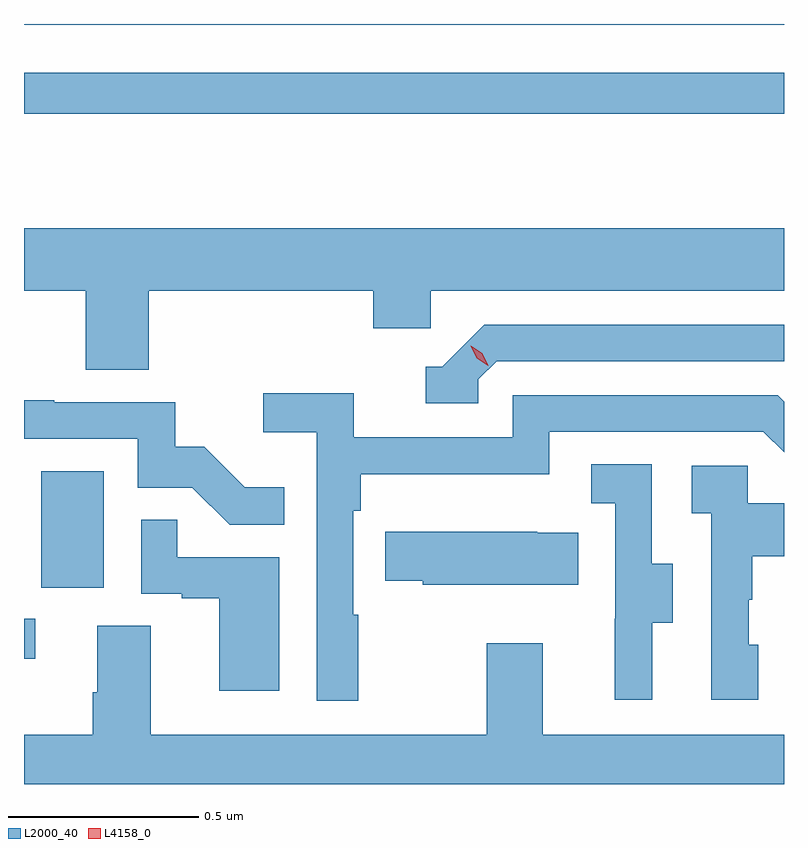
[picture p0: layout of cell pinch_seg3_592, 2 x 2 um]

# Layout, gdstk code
import gdstk
lib = gdstk.Library(unit=1e-6, precision=1e-09)
def R(c, l, rs):  # rectangles x0, y0, x1, y1
    for r in rs: c.add(gdstk.rectangle(r[:2], r[2:], *l))
def P(c, l, *ps):  # polygons
    for p in ps: c.add(gdstk.Polygon(p, *l))
L2000_40 = (2000, 40)
L4158_0 = (4158, 0)

pinch_seg3_592 = lib.new_cell('pinch_seg3_592')
R(pinch_seg3_592, L2000_40, [(1022.194,691.956,1022.224,692.061), (1022.24,692.142,1022.404,692.449), (1022.194,693.39,1024.194,693.498), (1022.194,693.624,1024.194,693.626)])
P(pinch_seg3_592, L2000_40, [(1022.522,692.924),(1023.113,692.924),(1023.113,692.826),(1023.264,692.826),(1023.264,692.924),(1024.194,692.924),(1024.194,693.088),(1022.194,693.088),(1022.194,692.924),(1022.357,692.924),(1022.357,692.716),(1022.522,692.716)],
  [(1023.39,692.691),(1023.438,692.739),(1024.194,692.739),(1024.194,692.835),(1023.405,692.835),(1023.294,692.724),(1023.251,692.724),(1023.251,692.628),(1023.39,692.628)],
  [(1023.073,692.072),(1023.06,692.072),(1023.06,692.345),(1023.08,692.345),(1023.08,692.441),(1023.576,692.441),(1023.576,692.553),(1024.14,692.553),(1024.194,692.499),(1024.194,692.632),(1024.177,692.649),(1023.48,692.649),(1023.48,692.538),(1023.062,692.538),(1023.062,692.654),(1022.823,692.654),(1022.823,692.552),(1022.964,692.552),(1022.964,691.845),(1023.073,691.845)],
  [(1022.879,692.407),(1022.775,692.407),(1022.668,692.514),(1022.592,692.514),(1022.592,692.631),(1022.273,692.631),(1022.273,692.636),(1022.194,692.636),(1022.194,692.535),(1022.493,692.535),(1022.493,692.406),(1022.637,692.406),(1022.735,692.308),(1022.879,692.308)],
  [(1023.847,692.05),(1023.901,692.05),(1023.901,692.205),(1023.846,692.205),(1023.846,692.468),(1023.687,692.468),(1023.687,692.365),(1023.75,692.365),(1023.75,692.061),(1023.749,692.061),(1023.749,691.848),(1023.847,691.848)],
  [(1024.126,691.992),(1024.101,691.992),(1024.101,692.111),(1024.111,692.111),(1024.111,692.225),(1024.194,692.225),(1024.194,692.365),(1024.098,692.365),(1024.098,692.463),(1023.951,692.463),(1023.951,692.339),(1024.002,692.339),(1024.002,691.848),(1024.126,691.848)],
  [(1022.866,692.223),(1022.597,692.223),(1022.597,692.321),(1022.502,692.321),(1022.502,692.127),(1022.609,692.127),(1022.609,692.115),(1022.708,692.115),(1022.708,691.872),(1022.866,691.872)],
  [(1023.653,692.287),(1023.545,692.287),(1023.545,692.29),(1023.145,692.29),(1023.145,692.161),(1023.243,692.161),(1023.243,692.15),(1023.653,692.15)],
  [(1024.194,691.756),(1023.559,691.756),(1023.559,691.996),(1023.412,691.996),(1023.412,691.756),(1022.527,691.756),(1022.527,692.042),(1022.387,692.042),(1022.387,691.868),(1022.375,691.868),(1022.375,691.756),(1022.194,691.756),(1022.194,691.626),(1024.194,691.626)])
P(pinch_seg3_592, L4158_0, [(1023.416,692.727),(1023.385,692.746),(1023.369,692.778),(1023.369,692.779),(1023.369,692.779),(1023.4,692.759),(1023.416,692.727),(1023.416,692.727)])

lib.write_gds('pinch_seg3_592.gds')
